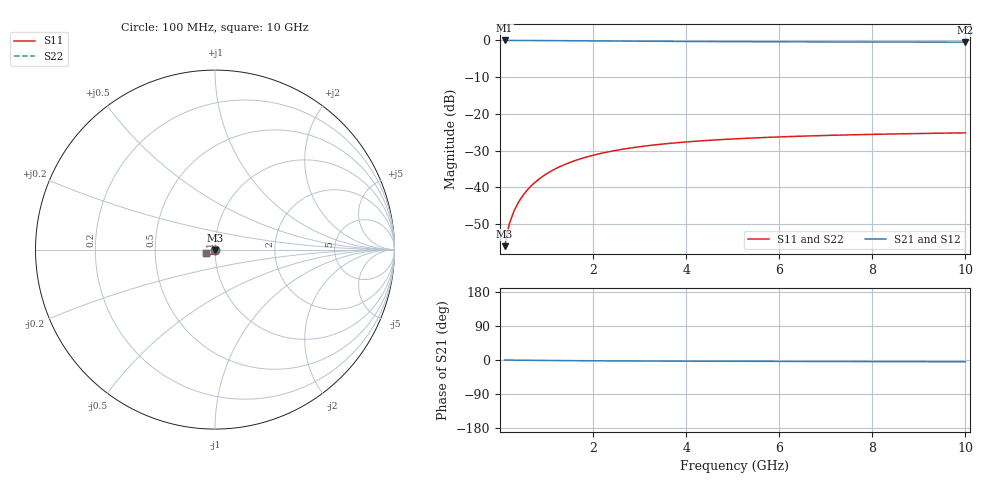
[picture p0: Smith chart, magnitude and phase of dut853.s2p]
! Touchstone file exported from HFSS 2024.1.0
!  File:  C:/UserFiles/LocalFiles/RDL_TSV_Batchsim/temp_TSV1_853_1779881178.aedt
!  Generated:  07:31:05 PM May 27, 2026
!  Design:  TSV1
!  Project:  temp_TSV1_853_1779881178
!  Setup:  Setup1
!  Solution:  Sweep
! Variables:
!  dtsv = 14.13um
!  hbump = 3um
!  htsv = 70.53um
!  lrdl = 252.1521522um
!  p = 40
!  p1 = 48.66um
!  t = 500um
!  trdl = 3um
!  wrdl = 24.89489489um
# GHz S MA R 50.000000
! Terminal data exported
! Port[1] = TSV22_T1
! Port[2] = TSV22_T2
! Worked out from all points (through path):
!   100 points, 100 MHz to 10 GHz, reference 50 ohm
!   highest |S21| = 0.00 dB at 100 MHz (marker M1); lowest = -0.5 dB at 10 GHz (marker M2)
!   lowest |S11| = -56.0 dB at 100 MHz (marker M3), VSWR 1.00, Z = 50 - j0.158 ohm
!   |S11| at or under -10 dB: start of sweep to end of sweep
!   |S22| runs from -56.0 to -25.2 dB; largest |S21 - S12| = 8.4e-15
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0.1  0.001582 -88.8  0.9999 -0.1  0.9999 -0.1  0.001582 -88.8
! Gamma 0 0 0 0
! Port Impedance 50 0 50 0
0.2  0.003163 -91.8  0.9997 -0.3  0.9997 -0.3  0.003163 -91.8
0.3  0.004743 -93.8  0.9995 -0.4  0.9995 -0.4  0.004743 -93.8
0.4  0.006314 -95.7  0.9991 -0.5  0.9991 -0.5  0.006314 -95.7
0.5  0.00787 -97.6  0.9987 -0.6  0.9987 -0.6  0.00787 -97.6
0.6  0.009406 -99.3  0.9982 -0.8  0.9982 -0.8  0.009406 -99.3
0.7  0.01092 -101.0  0.9976 -0.9  0.9976 -0.9  0.01092 -101.0
0.8  0.0124 -102.7  0.997 -1.0  0.997 -1.0  0.0124 -102.7
0.9  0.01385 -104.3  0.9963 -1.1  0.9963 -1.1  0.01385 -104.3
1.1  0.01665 -107.5  0.9947 -1.3  0.9947 -1.3  0.01665 -107.5
1.4  0.02057 -112.0  0.9921 -1.6  0.9921 -1.6  0.02057 -112.0
1.6  0.02298 -114.8  0.9902 -1.8  0.9902 -1.8  0.02298 -114.8
1.8  0.02524 -117.4  0.9883 -1.9  0.9883 -1.9  0.02524 -117.4
2.1  0.02832 -121.1  0.9853 -2.2  0.9853 -2.2  0.02832 -121.1
2.5  0.03193 -125.5  0.9815 -2.4  0.9815 -2.4  0.03193 -125.5
2.9  0.03503 -129.4  0.9778 -2.6  0.9778 -2.6  0.03503 -129.4
3.4  0.03829 -133.6  0.9737 -2.9  0.9737 -2.9  0.03829 -133.6
4.2  0.04242 -139.3  0.968 -3.1  0.968 -3.1  0.04242 -139.3
5.1  0.04592 -144.4  0.9628 -3.4  0.9628 -3.4  0.04592 -144.4
6.7  0.05025 -151.2  0.9561 -3.9  0.9561 -3.9  0.05025 -151.2
8.4  0.05325 -156.6  0.9511 -4.3  0.9511 -4.3  0.05325 -156.6
10  0.05519 -160.6  0.9478 -4.7  0.9478 -4.7  0.05519 -160.6
